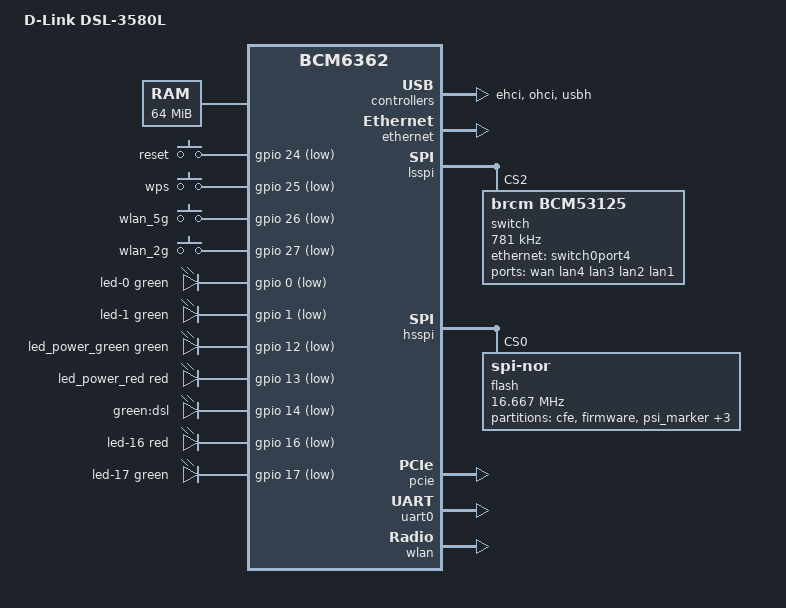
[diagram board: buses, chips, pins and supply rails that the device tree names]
// SPDX-License-Identifier: GPL-2.0-or-later

#include "bcm6362.dtsi"

#include <dt-bindings/input/input.h>
#include <dt-bindings/interrupt-controller/irq.h>
#include <dt-bindings/leds/common.h>

/ {
	model = "D-Link DSL-3580L";
	compatible = "dlink,dsl-3580l", "brcm,bcm6362";

	aliases {
		led-boot = &led_power_green;
		led-failsafe = &led_power_red;
		led-running = &led_power_green;
		led-upgrade = &led_power_green;
	};

	/* 64 MB DDR */
	memory@0 {
		device_type = "memory";
		reg = <0x00000000 0x04000000>;
	};

	keys {
		compatible = "gpio-keys";

		/*
		 * The four front-panel buttons of the DSL-3580L are wired to
		 * the four GPIO pads that the SoC also exposes as the
		 * ext_irq0..3 alternate function inputs of the external
		 * interrupt controller (brcm,bcm6345-ext-intc). That gives
		 * us IRQ-driven keys instead of the 100ms polling we used
		 * before.
		 *
		 * No pinctrl-0 = <&pinctrl_ext_irqN> here on purpose: on
		 * BCM63xx the pad input buffer feeds both the GPIO data
		 * register and the ExtINT input lines in parallel, so the
		 * pad stays readable via gpiod_get_value() (which
		 * gpio-keys.c uses to fill the press/release state) AND
		 * the ExtINT controller sees transitions without the pin
		 * being switched out of GPIO mode. If this assumption ever
		 * turns out wrong on a specific silicon revision and IRQs
		 * never fire, add the pinctrl groups to the corresponding
		 * key node and switch its interrupts to
		 * IRQ_TYPE_EDGE_FALLING (gpiod_get_value() would then
		 * return 0 in alt-mux mode, so EDGE_BOTH would mis-report
		 * release events).
		 *
		 * debounce-interval is kept at 60ms for documentation:
		 * gpio-keys passes it to gpiod_set_debounce() which is a
		 * no-op on BCM63xx (no hardware debounce). If the buttons
		 * bounce, software debounce can be added userspace-side or
		 * by switching to the gpio-keys built-in hrtimer path.
		 */

		reset {
			label = "reset";
			gpios = <&gpio 24 GPIO_ACTIVE_LOW>;
			interrupt-parent = <&ext_intc>;
			interrupts = <0 IRQ_TYPE_EDGE_BOTH>;
			linux,code = <KEY_RESTART>;
			debounce-interval = <60>;
		};

		wps {
			label = "wps";
			gpios = <&gpio 25 GPIO_ACTIVE_LOW>;
			interrupt-parent = <&ext_intc>;
			interrupts = <1 IRQ_TYPE_EDGE_BOTH>;
			linux,code = <KEY_WPS_BUTTON>;
			debounce-interval = <60>;
		};

		wlan_5g {
			label = "wlan_5g";
			gpios = <&gpio 26 GPIO_ACTIVE_LOW>;
			interrupt-parent = <&ext_intc>;
			interrupts = <2 IRQ_TYPE_EDGE_BOTH>;
			linux,code = <KEY_RFKILL>;
			debounce-interval = <60>;
		};

		wlan_2g {
			label = "wlan_2g";
			gpios = <&gpio 27 GPIO_ACTIVE_LOW>;
			interrupt-parent = <&ext_intc>;
			interrupts = <3 IRQ_TYPE_EDGE_BOTH>;
			linux,code = <KEY_WLAN>;
			debounce-interval = <60>;
		};
	};

	leds {
		compatible = "gpio-leds";

		/*
		 * Lo stock CFE muxa GPIO 0 sulla funzione hardware
		 * "usb_device_led" del SoC (vedi BP_GPIO_FUNC nei
		 * boardparms). Qui lo trattiamo come GPIO normale,
		 * perdiamo l'auto-blink hardware ma OpenWrt puo' usare
		 * il trigger usbport.
		 */
		led-0 {
			function = LED_FUNCTION_USB;
			color = <LED_COLOR_ID_GREEN>;
			gpios = <&gpio 0 GPIO_ACTIVE_LOW>;
			trigger-sources = <&ehci_port1>, <&ohci_port1>;
			linux,default-trigger = "usbport";
		};

		led-1 {
			function = LED_FUNCTION_WPS;
			color = <LED_COLOR_ID_GREEN>;
			gpios = <&gpio 1 GPIO_ACTIVE_LOW>;
		};

		led_power_green: led-12 {
			function = LED_FUNCTION_POWER;
			color = <LED_COLOR_ID_GREEN>;
			gpios = <&gpio 12 GPIO_ACTIVE_LOW>;
		};

		led_power_red: led-13 {
			function = LED_FUNCTION_POWER;
			color = <LED_COLOR_ID_RED>;
			gpios = <&gpio 13 GPIO_ACTIVE_LOW>;
			panic-indicator;
		};

		led-14 {
			label = "green:dsl";
			gpios = <&gpio 14 GPIO_ACTIVE_LOW>;
		};

		led-16 {
			function = LED_FUNCTION_WAN;
			color = <LED_COLOR_ID_RED>;
			gpios = <&gpio 16 GPIO_ACTIVE_LOW>;
		};

		led-17 {
			function = LED_FUNCTION_WAN;
			color = <LED_COLOR_ID_GREEN>;
			gpios = <&gpio 17 GPIO_ACTIVE_LOW>;
		};
	};

	/*
	 * SPROM fallback per il radio 2.4 GHz integrato nel BCM6362
	 * (chip 14e4:435f). Blob sromrev 8 board-specific (440 byte)
	 * generato dal `wl -i wl0 srdump` di una DSL-3580L con
	 * srdump_to_bin.py. Le calibrazioni PA chain 0/1 e i power
	 * offset MCS/CCK/OFDM differiscono dal blob generico
	 * `brcm/bcm6362-sprom.bin`; vedi diff_to_fixups.py per i 37
	 * word board-specific.
	 *
	 * Il radio integrato non e' su PCIe — sta sul backplane bcma
	 * AXI/OCP del SoC, esposto dal driver bcm6362-wlan-shim
	 * (vedi nodo &wlan in bcm6362.dtsi). Il match della SPROM
	 * avviene per phandle (bcma-bus = <&wlan>), non per
	 * pci-bus/pci-dev. Vedi l'estensione SoC in
	 * target/linux/generic/files/drivers/bcma/fallback-sprom.c.
	 *
	 * dev_id fixup (word 0x30 = byte 0x60).
	 *
	 * Anomalia nota: il blob estratto dal silicon via srdump
	 * riporta dev_id = 0x4354 nella parola 48 della SPROM,
	 * mentre il dmesg dello stock OEM su questa stessa board
	 * riporta `deviceid 0x435f` — quindi 0x435f e' il valore
	 * con cui il chip si presenta al wireless stack in
	 * produzione. Il blob va riallineato in memoria a 0x435f
	 * via il meccanismo brcm,sprom-fixups gia' presente in
	 * fallback-sprom.c (riga 377+); il blob su filesystem
	 * resta intatto (e' il dump fedele dell'OTP del chip).
	 *
	 * Questa discrepanza non emergeva sotto il vecchio path
	 * fake-PCI: il config space sintetico hard-coda 0x435f e
	 * b43 lo legge da li' senza passare per la SPROM. Sotto
	 * bcma host-soc b43 legge bus_sprom->dev_id e va il fixup.
	 *
	 * b43 conosce 0x435f (BCM6362) in main.c:5328.
	 *
	 * Il blob va in /lib/firmware/brcm/bcm6362-dlink-dsl-3580l-sprom.bin
	 * via base-files del subtarget bcm6362.
	 */
	bcm6362-sprom {
		compatible = "brcm,bcma-sprom";

		bcma-bus = <&wlan>;

		nvmem-cells = <&macaddr_cfe_6a0 1>;
		nvmem-cell-names = "mac-address";

		brcm,sprom = "brcm/bcm6362-dlink-dsl-3580l-sprom.bin";
		brcm,sprom-fixups = <0x30 0x435f>;
	};

	/*
	 * SPROM fallback per il radio 5 GHz BCM4352 (chip 14e4:43b3)
	 * su PCIe. Blob sromrev 11 board-specific (468 byte) estratto
	 * da `wl -i wl1 srdump` con srdump_to_bin.py.
	 *
	 * Topologia PCI sotto OpenWrt mainline: il BCM4352 e' l'unico
	 * device su PCIe (controller pcie-bcm6328); il radio integrato
	 * NON e' enumerato come PCI ma come device bcma sul SoC
	 * backplane (vedi bcm6362-sprom sopra).
	 *
	 *   bus 0:00.0  [14e4:6362]  PCIe Root Port (pcie-bcm6328)
	 *   bus 1:00.0  [14e4:43b3]  BCM4352 (5 GHz)              <- questo nodo
	 *
	 * Il blob va installato in:
	 *   /lib/firmware/brcm/bcm4352-dlink-dsl-3580l-sprom.bin
	 * via base-files del subtarget bcm6362.
	 *
	 * Dipendenza kernel: la patch SROM rev 11 (estrattore
	 * `bcma_sprom_extract_r11` + estensione di `struct ssb_sprom`
	 * con i campi rev-11-only) deve essere applicata sul kernel
	 * di OpenWrt. Vedi target/linux/bmips/patches-6.12/
	 * 801-ssb-bcma-firmware-SROM-revision-11-support.patch.
	 */
	bcm4352-sprom {
		compatible = "brcm,bcma-sprom";

		pci-bus = <1>;
		pci-dev = <0>;

		nvmem-cells = <&macaddr_cfe_6a0 2>;
		nvmem-cell-names = "mac-address";

		brcm,sprom = "brcm/bcm4352-dlink-dsl-3580l-sprom.bin";
	};
};

&ehci {
	status = "okay";

	#address-cells = <1>;
	#size-cells = <0>;

	ehci_port1: port@1 {
		reg = <1>;
		#trigger-source-cells = <0>;
	};
};

&ethernet {
	status = "okay";

	nvmem-cells = <&macaddr_cfe_6a0 0>;
	nvmem-cell-names = "mac-address";
};

/*
 * Switch esterno BCM53125. Il Makefile GPL riportava
 *   BRCM_EXT_SWITCH_TYPE=53115, BRCM_EXT_SWITCH_REV="a0"
 * ma quello e' il nome del driver MDK Broadcom riusato, non
 * il chip ID. Il dump CFE/kernel stock dice esplicitamente:
 *   External switch id = 53125
 *   Note: Forcing 53115 driver for 53125
 * In b53 mainline 53115 e 53125 sono compatible distinti.
 * Attaccato a lsspi CS=2 (boardparms:
 *   BP_OVERLAY_SPI_SSB2_EXT_CS + BP_ENET_CONFIG_SPI_SSB_2).
 *
 * Mapping etichette dal boardparms:
 *   port 0  -> eth0  -> WAN
 *   port 1  -> eth4  -> LAN4
 *   port 2  -> eth3  -> LAN3
 *   port 3  -> eth2  -> LAN2
 *   port 4  -> eth1  -> LAN1
 */
&lsspi {
	status = "okay";

	pinctrl-names = "default";
	pinctrl-0 = <&pinctrl_spi_cs2>;

	switch@2 {
		compatible = "brcm,bcm53125";
		reg = <2>;
		spi-max-frequency = <781000>;

		dsa,member = <1 0>;

		ports {
			#address-cells = <1>;
			#size-cells = <0>;

			port@0 {
				reg = <0>;
				label = "wan";
			};

			port@1 {
				reg = <1>;
				label = "lan4";
			};

			port@2 {
				reg = <2>;
				label = "lan3";
			};

			port@3 {
				reg = <3>;
				label = "lan2";
			};

			port@4 {
				reg = <4>;
				label = "lan1";
			};

			port@8 {
				reg = <8>;

				phy-mode = "rgmii-id";
				ethernet = <&switch0port4>;

				fixed-link {
					speed = <1000>;
					full-duplex;
				};
			};
		};
	};
};

/*
 * Flash SPI-NOR MX25L128 da 16 MB single-bank (confermato dal
 * dump dei log stock: "HS Serial flash device: name MX25L128,
 * id 0xc218 size 16384KB"). Niente dual-bank / niente fallback
 * automatico in caso di flash interrotta — il recovery va fatto
 * via TFTP da CFE seriale.
 *
 * Layout SPI (frequency, bus-width) copiato dal Comtrend
 * AR-5381u / Innacomm W3400v6 (stesso target bmips, stesso uso
 * di brcm,bcm963xx-imagetag). Da abbassare se la flash della
 * board specifica non li tollera (sintomi: corruption / hang
 * in lettura): togliere le due righe spi-*-bus-width e portare
 * spi-max-frequency a 10000000 o 8000000.
 */
&hsspi {
	status = "okay";

	flash@0 {
		compatible = "jedec,spi-nor";
		reg = <0>;
		spi-max-frequency = <16666667>;
		spi-tx-bus-width = <2>;
		spi-rx-bus-width = <2>;

		partitions {
			compatible = "fixed-partitions";
			#address-cells = <1>;
			#size-cells = <1>;

			partition@0 {
				reg = <0x000000 0x010000>;
				label = "cfe";
				read-only;

				nvmem-layout {
					compatible = "fixed-layout";
					#address-cells = <1>;
					#size-cells = <1>;

					/*
					 * Offset MAC base 0x6a0 e' il default
					 * Broadcom CFE (= NVRAM_DATA_OFFSET
					 * 0x580 + offset di ucaBaseMacAddr
					 * dentro la struct nvram, 0x120).
					 *
					 * Convenzione MAC indice -> interfaccia
					 * sullo stock D-Link DSL-3580L (verificata
					 * dal `ifconfig -a` del firmware OEM
					 * 6.30.102.7, salvato in
					 * router-data/dsl3580l/router_info.txt
					 * del repo b43-add-bcm43xx-ac):
					 *
					 *   base + 0  ->  D8:FE:E3:E2:A1:3C
					 *                 LAN/bridge (bcmsw, br0,
					 *                 eth1..eth4 lato switch)
					 *   base + 1  ->  D8:FE:E3:E2:A1:3D
					 *                 wl0 (2.4 GHz N-PHY)
					 *   base + 2  ->  D8:FE:E3:E2:A1:3E
					 *                 wl1 (5 GHz AC-PHY)
					 *   base + 3  ->  D8:FE:E3:E2:A1:3F
					 *                 WAN dedicato (eth0)
					 */
					macaddr_cfe_6a0: macaddr@6a0 {
						compatible = "mac-base";
						reg = <0x6a0 0x6>;
						#nvmem-cell-cells = <1>;
					};
				};
			};

			/*
			 * 7.5 MB rootfs + 1.4 MB kernel,
			 * rootfs first in the original firmware.
			 */
			partition@10000 {
				compatible = "brcm,bcm963xx-imagetag";
				reg = <0x010000 0x8b0000>;
				label = "firmware";
			};

			/*
			 * psi_marker: 0x8c5000 - 0x8d5000 (64 KiB).
			 * Settore con 13 byte di sentinella all'inizio
			 * (35 ea 91 b4 92 23 be 73 98 e4 bd 5a 9a) seguiti
			 * da FF. Probabilmente un boundary marker letto
			 * dal CFE per validare l'integrita' della factory
			 * image o per delimitare l'area scratch sottostante.
			 * Read-only per non rischiare di alterarlo.
			 */
			partition@8c5000 {
				reg = <0x8c0000 0x010000>;
				label = "psi_marker";
				read-only;
			};

			/*
			 * scratch: 0x8d5000 - 0xff5000 (7296 KiB).
			 * Settori erased (0xff) nella flash stock, mai
			 * scritti dall'OEM. Esposti scrivibili: utili come
			 * area utente per dump, log persistenti, secondo
			 * overlay, o estensione futura di firmware/rootfs.
			 */
			/* Start bumped from 0x8d5000 to 0x8e0000 (next erase-block
			 * boundary, 64 KiB) so mtd doesn't force read-only on a
			 * misaligned offset. Loses 44 KiB of scratch space at the
			 * front; remaining 7.2 MiB is plenty for the intended use
			 * (dumps, persistent logs, secondary overlay). */
			partition@8e0000 {
				reg = <0x8e0000 0x715000>;
				label = "scratch";
			};

			/*
			 * nvram_pad: 0xff5000 - 0xff8000 (12 KiB).
			 * Tre settori erased subito prima della NVRAM
			 * Broadcom. Probabilmente padding lasciato dal
			 * tool di flash factory per allineare la NVRAM
			 * a un confine di blocco. Read-only per
			 * conservativismo: non sappiamo se l'OEM lo
			 * usi per scratch interno tra reboot.
			 */
			partition@ff5000 {
				reg = <0xff5000 0x003000>;
				label = "nvram_pad";
				read-only;
			};

			/*
			 * nvram: 0xff8000 - 0x1000000 (32 KiB).
			 * NVRAM Broadcom PSI (Persistent Storage Image),
			 * magic "gOGoBrCm" + "BLP0" header. Contiene la
			 * configurazione utente OEM compressa LZW
			 * (snmp_state, tr69c_acsState, ecc.) con CRC32.
			 * Indipendente dalla struct NVRAM_DATA embedded
			 * in CFE a offset 0x580 (da cui prendiamo il MAC):
			 * questa qui e' configurazione runtime utente,
			 * quella in CFE e' factory-set.
			 *
			 * Read-only: alterarla non brick-a il device ma
			 * confonde lo stock se mai si vuole tornare al
			 * firmware originale.
			 */
			partition@ff8000 {
				reg = <0xff8000 0x008000>;
				label = "nvram";
				read-only;
			};
		};
	};
};

/*
 * Cascading DSA. Sul BCM6362 il path RGMII out passa attraverso
 * port@4 dello switch interno (RoboSwitch su 0x10e00000), come
 * confermato dal boardparms OEM Broadcom per "DSL-3580":
 *
 *     {bp_ulPortMap,  .u.ul = 0x10},                   // solo port@4
 *     {bp_ulPhyId4,   .u.ul = RGMII_DIRECT|EXTSW_CONNECTED},
 *
 * Schema:
 *   PC -- LAN N -- [BCM53125 esterno] -- port@8 RGMII --
 *   port@4 RGMII -- [&switch0 interno] -- port@8 internal --
 *   [&ethernet GMAC] -- eth0
 *
 * Due DSA tree con un solo conduit (eth0): tree 0 = switch interno,
 * tree 1 = 53125 esterno ancorato a &switch0port4. Stesso schema
 * dell'HG253S-V2 in mainline OpenWrt che condivide il SoC.
 *
 * Storia dei tentativi precedenti su questo blocco:
 *
 * 1) &switch0 attivo + 53125 ancorato a &ethernet:
 *    sysfs: cannot create duplicate filename '.../eth0/dsa'
 *    b53-switch 10e00000.switch: probe ... failed with error -17
 *    Notifier penzolanti dopo il rollback fallito di
 *    dsa_register_switch -> kernel panic ("Reserved instruction",
 *    PC nello heap) al primo netdev event.
 *
 * 2) &switch0 status="disabled":
 *    Niente panic, ma rx_packets di eth0 fermo a 0 anche con PHY
 *    in link sulle porte LAN: il path RGMII passa da uno switch
 *    spento, i frame non raggiungono mai il GMAC.
 */
&switch0 {
	dsa,member = <0 0>;

	ports {
		switch0port4: port@4 {
			reg = <4>;
			label = "extsw";

			phy-mode = "rgmii-id";

			fixed-link {
				speed = <1000>;
				full-duplex;
			};
		};
	};
};

&ohci {
	status = "okay";

	#address-cells = <1>;
	#size-cells = <0>;

	ohci_port1: port@1 {
		reg = <1>;
		#trigger-source-cells = <0>;
	};
};

/*
 * PCIe interno abilitato. Sulla DSL-3580L vivono due device:
 *   - radio 2.4 GHz integrato del BCM6362 (chip 14e4:435f) sul
 *     primo bus dietro il bridge interno
 *   - radio 5 GHz BCM4352 (chip 14e4:43b3) su un secondo bus
 *     dietro lo stesso bridge
 * Vedi i due nodi `bcm{6362,4352}-sprom` sopra.
 *
 * La finestra PCIe nel bcm6362.dtsi default e' 1 MB
 * (0x10f00000-0x10ffffff), sufficiente per i radio b43 vecchi
 * tipici delle altre board bmips. Il BCM4352 ha BAR2 da 2 MB
 * (memoria condivisa AC-PHY) che non c'entra in 1 MB:
 *
 *   pci 0000:01:00.0: BAR 2 [mem size 0x00200000 64bit]:
 *     can't assign; no space
 *
 * Il driver bcm6328-pcie programma BAR0_BASEMASK e
 * BAR0_REBASE_ADDR partendo da `ranges` con granularita' 1 MB
 * (vedi pcie-bcm6328.c, righe ~278-287), quindi qualunque
 * dimensione che mettiamo qui viene programmata in HW. La
 * mappa SoC del BCM6362 non ha periferiche oltre 0x10e50000,
 * quindi possiamo allargare a 4 MB (0x10f00000-0x112fffff)
 * senza conflitti.
 *
 * 4 MB > 2 MB BAR2 + bridge overhead, con margine se in futuro
 * subentrano altri device PCIe.
 */
&pcie {
	status = "okay";

	ranges = <0x02000000 0 0x10f00000  0x10f00000  0 0x00400000>;
};

&uart0 {
	status = "okay";
};

&usbh {
	status = "okay";
};

/*
 * Radio 2.4 GHz integrato del BCM6362 (14e4:435f).
 *
 * Esposto via bcm6362-wlan-shim sul SoC backplane bcma, NON via
 * PCI. La SPROM viene servita da bcm6362-sprom sopra, matchato
 * per phandle (bcma-bus = <&wlan>). Vedi commenti dettagliati
 * sulla bring-up sequence e topologia in bcm6362.dtsi.
 */
&wlan {
	status = "okay";
};
